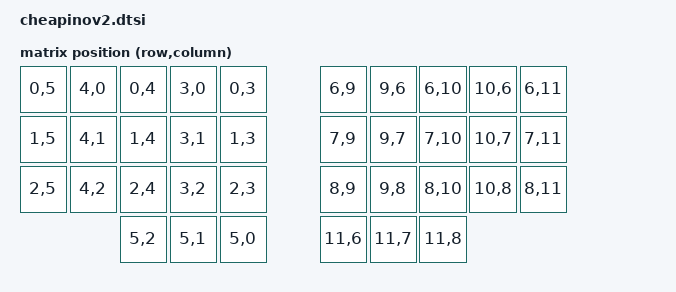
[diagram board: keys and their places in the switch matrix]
/*
 * Copyright (c) 2022 The ZMK Contributors
 *
 * SPDX-License-Identifier: MIT
 */

#include <dt-bindings/zmk/matrix_transform.h>
#include "cheapinov2-layout.dtsi"

&cheapino_layout {
    transform = <&default_transform>;
};

/ {
    leds {
        compatible = "gpio-leds";
        blue_led: led_0 {
            gpios = <&gpio0 15 GPIO_ACTIVE_HIGH>;
            status = "disabled";
        };
    };
};

/ {
    chosen {
        zmk,kscan = &cheapino_scan;
        zmk,physical-layout = &cheapino_layout;
        transform = <&default_transform>;
    };

    default_transform: keymap_transform_0 {
        compatible = "zmk,matrix-transform";
        columns = <12>;
        rows = <12>;
        map = <
                RC(0,5) RC(4,0) RC(0,4) RC(3,0) RC(0,3)    RC(6,9) RC(9,6) RC(6,10) RC(10,6) RC(6,11)
                RC(1,5) RC(4,1) RC(1,4) RC(3,1) RC(1,3)    RC(7,9) RC(9,7) RC(7,10) RC(10,7) RC(7,11)
                RC(2,5) RC(4,2) RC(2,4) RC(3,2) RC(2,3)    RC(8,9) RC(9,8) RC(8,10) RC(10,8) RC(8,11)
                                RC(5,2) RC(5,1) RC(5,0)    RC(11,6) RC(11,7) RC(11,8)
        >;
    };


};

